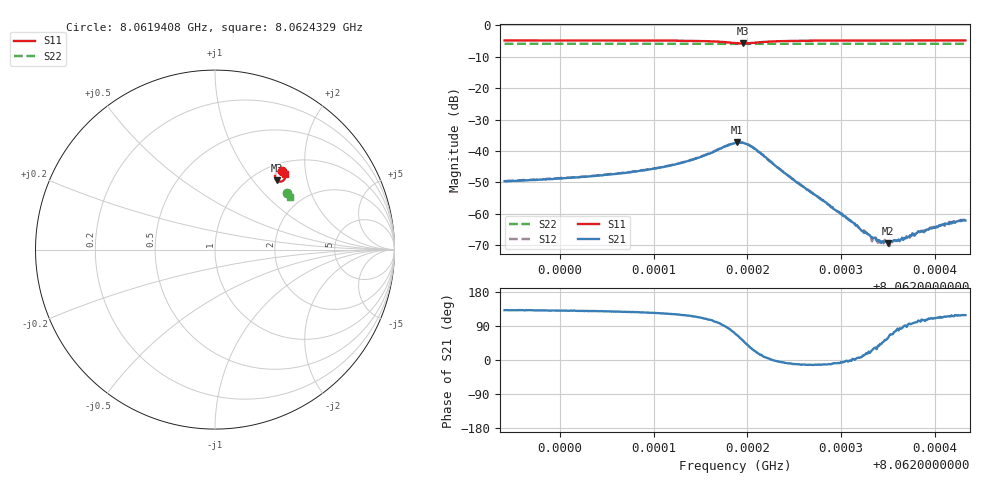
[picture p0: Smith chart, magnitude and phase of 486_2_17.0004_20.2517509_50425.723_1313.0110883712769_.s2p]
#  HZ  S  RI  R  50.00
! Rohde & Schwarz Vector Network Analyzer
! Rohde-Schwarz,ZNB20-2Port,1311601062101988,3.16
! Created: UTC 3/20/2024, 11:13:53 PM
! freq[Hz]  re:S11  im:S11  re:S21  im:S21  re:S12  im:S12  re:S22  im:S22
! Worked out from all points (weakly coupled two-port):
!   401 points, 8.0619408 GHz to 8.0624329 GHz, reference 50 ohm
!   highest |S21| = -37.22 dB at 8.0621893 GHz (marker M1); lowest = -69.3 dB at 8.0623505 GHz (marker M2)
!   lowest |S11| = -5.7 dB at 8.0621955 GHz (marker M3), VSWR 3.14, Z = 63.2 + j66.5 ohm
!   |S11| at or under -10 dB: nowhere
!   |S22| runs from -5.9 to -5.8 dB; largest |S21 - S12| = 0.001
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8.06194077e9  0.3731 0.4389  -0.0022 0.00249  -0.00208 0.00263  0.4017 0.3148
8.06202321e9  0.3793 0.433  -0.00248 0.00299  -0.0023 0.00315  0.4048 0.3107
8.06207366e9  0.384 0.4277  -0.00274 0.00367  -0.00255 0.00385  0.4067 0.3078
8.06210565e9  0.3873 0.4227  -0.00302 0.0045  -0.00274 0.00473  0.4078 0.3063
8.06214256e9  0.3911 0.4113  -0.00312 0.00668  -0.00276 0.00693  0.4092 0.3038
8.06218686e9  0.3623 0.3786  0.00466 0.0125  0.00532 0.0125  0.4089 0.3007
8.06218932e9  0.3568 0.3791  0.00588 0.0124  0.00664 0.0121  0.4087 0.3007
8.06219547e9  0.3434 0.3859  0.00845 0.0105  0.00932 0.00991  0.4085 0.3008
8.06220778e9  0.3344 0.4115  0.0099 0.00445  0.0103 0.00383  0.4088 0.3015
8.06223731e9  0.3568 0.435  0.00476 -0.000493  0.00477 -0.000826  0.4112 0.301
8.0622693e9  0.3706 0.4347  0.00211 -0.000475  0.00209 -0.000606  0.4127 0.2991
8.06231113e9  0.3792 0.4315  0.000756 -3.12e-05  0.000751 -7.41e-05  0.4145 0.2969
8.06232344e9  0.3807 0.4305  0.000514 0.00011  0.000525 9.1e-05  0.415 0.2962
8.06233082e9  0.3818 0.4299  0.000432 0.000147  0.000417 0.000137  0.4152 0.2958
8.06234066e9  0.383 0.4291  0.000303 0.00023  0.000285 0.000209  0.4156 0.2952
8.0623505e9  0.3841 0.4285  0.000179 0.000293  0.000186 0.000302  0.416 0.2948
8.06235173e9  0.3841 0.4285  0.000148 0.000314  0.000151 0.000267  0.4161 0.2947
8.06236527e9  0.3855 0.4275  4.54e-05 0.000408  5.27e-05 0.000415  0.4166 0.2941
8.06238496e9  0.3873 0.4262  -9.94e-05 0.00051  -8.69e-05 0.000523  0.4171 0.293
8.06239726e9  0.3883 0.4254  -0.0002 0.000552  -0.000215 0.000561  0.4177 0.2923
8.06241818e9  0.39 0.4241  -0.000326 0.00062  -0.000281 0.000667  0.4183 0.2912
8.06243294e9  0.3912 0.4232  -0.000374 0.00069  -0.000346 0.000715  0.4188 0.2904
